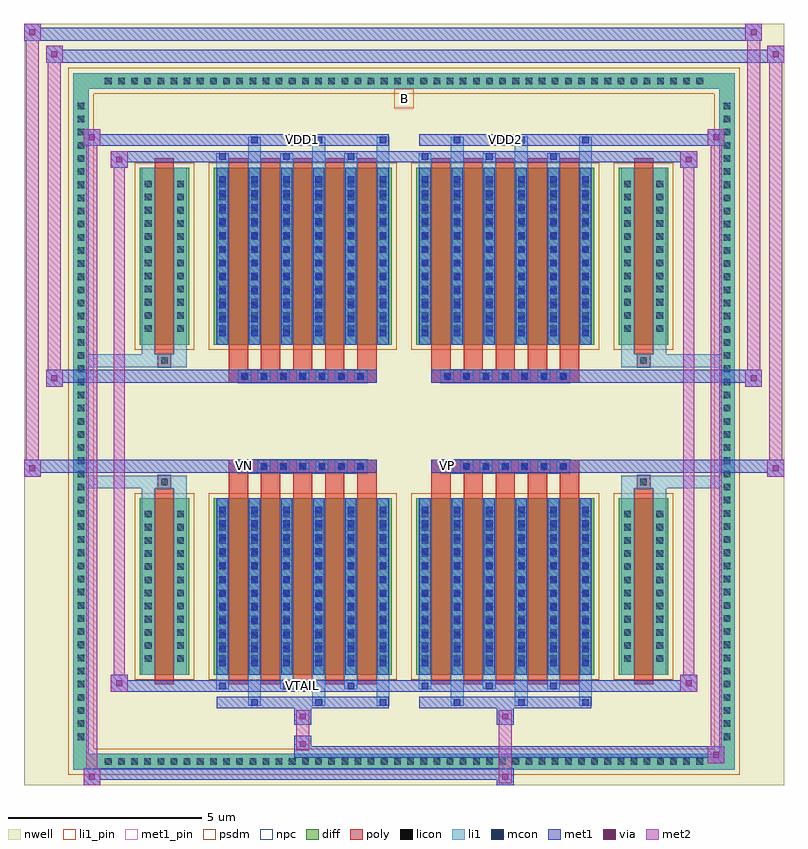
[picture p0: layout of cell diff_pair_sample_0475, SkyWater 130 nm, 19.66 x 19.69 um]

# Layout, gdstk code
import gdstk
lib = gdstk.Library(unit=1e-6, precision=5e-09)
def R(c, l, rs):  # rectangles x0, y0, x1, y1
    for r in rs: c.add(gdstk.rectangle(r[:2], r[2:], *l))
def A(c, l, x, y, w, h, nx, ny, dx, dy):  # array of equal rectangles
    R(c, l, [(x+i*dx, y+j*dy, x+i*dx+w, y+j*dy+h) for i in range(nx) for j in range(ny)])
def P(c, l, *ps):  # polygons
    for p in ps: c.add(gdstk.Polygon(p, *l))
nwell = (64, 20)
diff = (65, 20)
poly = (66, 20)
licon = (66, 44)
li1_pin = (67, 16)
li1 = (67, 20)
mcon = (67, 44)
met1_pin = (68, 16)
met1 = (68, 20)
via = (68, 44)
met2 = (69, 20)
psdm = (94, 20)
npc = (95, 20)

diff_pair_sample_0475 = lib.new_cell('diff_pair_sample_0475')
R(diff_pair_sample_0475, nwell, [(-9.83,-9.41,9.83,10.28), (-7.15,-7.6,-0.01,-0.8), (0.01,-7.6,7.15,-0.8), (-7.15,0.8,-0.01,7.6), (0.01,0.8,7.15,7.6)])
A(diff_pair_sample_0475, diff, -7.855, -9.01, 0.41, 0.41, 46, 2, 0.34, 17.61)
A(diff_pair_sample_0475, diff, -8.56, -8.365, 0.41, 0.41, 1, 49, 0, 0.34)
A(diff_pair_sample_0475, diff, 8.15, -8.365, 0.41, 0.41, 1, 49, 0, 0.34)
R(diff_pair_sample_0475, diff, [(-7.855,-9.01,7.855,-8.6), (-8.56,-8.365,-8.15,8.365), (8.15,-8.365,8.56,8.365), (-6.84,-6.555,-5.56,-1.985), (-4.92,-6.555,-0.32,-1.985), (0.32,-6.555,4.92,-1.985), (5.56,-6.555,6.84,-1.985), (-6.84,1.985,-5.56,6.555), (-4.92,1.985,-0.32,6.555), (0.32,1.985,4.92,6.555), (5.56,1.985,6.84,6.555), (-7.855,8.6,7.855,9.01)])
P(diff_pair_sample_0475, diff, [(8.56,9.01),(-8.56,9.01),(-8.56,-8.6),(-8.15,-8.6),(-8.15,8.6),(8.15,8.6),(8.15,-8.6),(-8.15,-8.6),(-8.56,-8.6),(-8.56,-9.01),(8.56,-9.01)])
A(diff_pair_sample_0475, poly, -4.53, -6.805, 0.5, 5.07, 5, 2, 0.83, 8.54)
A(diff_pair_sample_0475, poly, 0.71, -6.805, 0.5, 5.07, 5, 2, 0.83, 8.54)
A(diff_pair_sample_0475, poly, -4.53, -1.735, 0.5, 0.405, 5, 2, 0.83, 3.065)
A(diff_pair_sample_0475, poly, 0.71, -1.735, 0.5, 0.405, 5, 2, 0.83, 3.065)
A(diff_pair_sample_0475, poly, -4.285, -1.33, 0.33, 0.33, 7, 2, 0.5, 2.33)
A(diff_pair_sample_0475, poly, 0.955, -1.33, 0.33, 0.33, 7, 2, 0.5, 2.33)
R(diff_pair_sample_0475, poly, [(-6.45,-6.805,-5.95,-1.735), (5.95,-6.805,6.45,-1.735), (-6.365,-1.735,-6.035,-1.405), (-6.365,-1.735,-6.035,-1.405), (6.035,-1.735,6.365,-1.405), (6.035,-1.735,6.365,-1.405), (-4.53,-1.33,-0.71,-1), (0.71,-1.33,4.53,-1), (-4.53,1,-0.71,1.33), (0.71,1,4.53,1.33), (-6.365,1.405,-6.035,1.735), (-6.365,1.405,-6.035,1.735), (6.035,1.405,6.365,1.735), (6.035,1.405,6.365,1.735), (-6.45,1.735,-5.95,6.805), (5.95,1.735,6.45,6.805)])
A(diff_pair_sample_0475, licon, -7.735, -8.89, 0.17, 0.17, 46, 2, 0.34, 17.61)
A(diff_pair_sample_0475, licon, -8.44, -8.245, 0.17, 0.17, 1, 49, 0, 0.34)
A(diff_pair_sample_0475, licon, 8.27, -8.245, 0.17, 0.17, 1, 49, 0, 0.34)
A(diff_pair_sample_0475, licon, -6.7, -6.225, 0.17, 0.17, 1, 12, 0, 0.34)
A(diff_pair_sample_0475, licon, -5.87, -6.225, 0.17, 0.17, 1, 12, 0, 0.34)
A(diff_pair_sample_0475, licon, -4.78, -6.225, 0.17, 0.17, 6, 12, 0.83, 0.34)
A(diff_pair_sample_0475, licon, 0.46, -6.225, 0.17, 0.17, 6, 12, 0.83, 0.34)
A(diff_pair_sample_0475, licon, 5.7, -6.225, 0.17, 0.17, 1, 12, 0, 0.34)
A(diff_pair_sample_0475, licon, 6.53, -6.225, 0.17, 0.17, 1, 12, 0, 0.34)
A(diff_pair_sample_0475, licon, -4.205, -1.25, 0.17, 0.17, 7, 2, 0.5, 2.33)
A(diff_pair_sample_0475, licon, 1.035, -1.25, 0.17, 0.17, 7, 2, 0.5, 2.33)
A(diff_pair_sample_0475, licon, -6.7, 2.315, 0.17, 0.17, 1, 12, 0, 0.34)
A(diff_pair_sample_0475, licon, -5.87, 2.315, 0.17, 0.17, 1, 12, 0, 0.34)
A(diff_pair_sample_0475, licon, -4.78, 2.315, 0.17, 0.17, 6, 12, 0.83, 0.34)
A(diff_pair_sample_0475, licon, 0.46, 2.315, 0.17, 0.17, 6, 12, 0.83, 0.34)
A(diff_pair_sample_0475, licon, 5.7, 2.315, 0.17, 0.17, 1, 12, 0, 0.34)
A(diff_pair_sample_0475, licon, 6.53, 2.315, 0.17, 0.17, 1, 12, 0, 0.34)
R(diff_pair_sample_0475, licon, [(-6.285,-1.655,-6.115,-1.485), (6.115,-1.655,6.285,-1.485), (-6.285,1.485,-6.115,1.655), (6.115,1.485,6.285,1.655)])
R(diff_pair_sample_0475, li1_pin, [(-0.25,8.1,0.25,8.6)])
A(diff_pair_sample_0475, li1, -7.815, -8.97, 0.33, 0.33, 46, 2, 0.34, 17.61)
A(diff_pair_sample_0475, li1, -8.52, -8.325, 0.33, 0.33, 1, 49, 0, 0.34)
A(diff_pair_sample_0475, li1, 8.19, -8.325, 0.33, 0.33, 1, 49, 0, 0.34)
A(diff_pair_sample_0475, li1, -4.03, -7.36, 0.33, 0.805, 3, 2, 1.66, 13.915)
A(diff_pair_sample_0475, li1, -3.95, -7.36, 0.17, 0.17, 3, 2, 1.66, 14.55)
A(diff_pair_sample_0475, li1, 1.21, -7.36, 0.33, 0.805, 3, 2, 1.66, 13.915)
A(diff_pair_sample_0475, li1, 1.29, -7.36, 0.17, 0.17, 3, 2, 1.66, 14.55)
A(diff_pair_sample_0475, li1, -4.86, -6.93, 0.33, 0.375, 3, 2, 1.66, 13.485)
A(diff_pair_sample_0475, li1, -4.78, -6.93, 0.17, 0.17, 3, 2, 1.66, 13.69)
A(diff_pair_sample_0475, li1, 0.38, -6.93, 0.33, 0.375, 3, 2, 1.66, 13.485)
A(diff_pair_sample_0475, li1, 0.46, -6.93, 0.17, 0.17, 3, 2, 1.66, 13.69)
A(diff_pair_sample_0475, li1, -4.86, -6.555, 0.33, 4.57, 6, 2, 0.83, 8.54)
A(diff_pair_sample_0475, li1, 0.38, -6.555, 0.33, 4.57, 6, 2, 0.83, 8.54)
A(diff_pair_sample_0475, li1, -4.78, -6.335, 0.17, 0.17, 6, 12, 0.83, 0.36)
A(diff_pair_sample_0475, li1, -4.78, -6.335, 0.17, 4.13, 6, 2, 0.83, 8.54)
A(diff_pair_sample_0475, li1, 0.46, -6.335, 0.17, 0.17, 6, 12, 0.83, 0.36)
A(diff_pair_sample_0475, li1, 0.46, -6.335, 0.17, 4.13, 6, 2, 0.83, 8.54)
A(diff_pair_sample_0475, li1, -6.78, -6.305, 0.33, 0.33, 1, 12, 0, 0.34)
A(diff_pair_sample_0475, li1, -5.95, -6.305, 0.33, 0.33, 1, 12, 0, 0.34)
A(diff_pair_sample_0475, li1, -4.86, -6.305, 0.33, 0.33, 6, 12, 0.83, 0.34)
A(diff_pair_sample_0475, li1, 0.38, -6.305, 0.33, 0.33, 6, 12, 0.83, 0.34)
A(diff_pair_sample_0475, li1, 5.62, -6.305, 0.33, 0.33, 1, 12, 0, 0.34)
A(diff_pair_sample_0475, li1, 6.45, -6.305, 0.33, 0.33, 1, 12, 0, 0.34)
A(diff_pair_sample_0475, li1, -4.285, -1.33, 0.33, 0.33, 7, 2, 0.5, 2.33)
A(diff_pair_sample_0475, li1, 0.955, -1.33, 0.33, 0.33, 7, 2, 0.5, 2.33)
A(diff_pair_sample_0475, li1, -4.78, 2.205, 0.17, 0.17, 6, 12, 0.83, 0.36)
A(diff_pair_sample_0475, li1, 0.46, 2.205, 0.17, 0.17, 6, 12, 0.83, 0.36)
A(diff_pair_sample_0475, li1, -6.78, 2.235, 0.33, 0.33, 1, 12, 0, 0.34)
A(diff_pair_sample_0475, li1, -5.95, 2.235, 0.33, 0.33, 1, 12, 0, 0.34)
A(diff_pair_sample_0475, li1, -4.86, 2.235, 0.33, 0.33, 6, 12, 0.83, 0.34)
A(diff_pair_sample_0475, li1, 0.38, 2.235, 0.33, 0.33, 6, 12, 0.83, 0.34)
A(diff_pair_sample_0475, li1, 5.62, 2.235, 0.33, 0.33, 1, 12, 0, 0.34)
A(diff_pair_sample_0475, li1, 6.45, 2.235, 0.33, 0.33, 1, 12, 0, 0.34)
R(diff_pair_sample_0475, li1, [(-8.56,-9.01,-8.15,-8.6), (-8.56,-9.01,-8.15,-8.6), (-8.15,-9.01,8.15,-8.6), (8.15,-9.01,8.56,-8.6), (8.15,-9.01,8.56,-8.6), (-8.56,-8.6,-8.15,8.6), (8.15,-8.6,8.56,8.6), (-6.78,-6.555,-6.45,-1.985), (-5.95,-6.555,-5.62,-1.985), (5.62,-6.555,5.95,-1.985), (6.45,-6.555,6.78,-1.985), (-6.78,-1.985,-6.45,-1.405), (-5.95,-1.985,-5.62,-1.405), (5.62,-1.985,5.95,-1.405), (6.45,-1.985,6.78,-1.405), (-8.56,-1.735,-6.365,-1.405), (-6.78,-1.735,-6.365,-1.405), (-6.365,-1.735,-6.035,-1.405), (-6.035,-1.735,-5.62,-1.405), (5.62,-1.735,6.035,-1.405), (6.035,-1.735,6.365,-1.405), (6.035,-1.735,8.56,-1.405), (6.365,-1.735,6.78,-1.405), (-8.56,1.405,-6.365,1.735), (-6.78,1.405,-6.365,1.735), (-6.78,1.405,-6.45,1.985), (-6.365,1.405,-6.035,1.735), (-6.035,1.405,-5.62,1.735), (-5.95,1.405,-5.62,1.985), (5.62,1.405,6.035,1.735), (5.62,1.405,5.95,1.985), (6.035,1.405,6.365,1.735), (6.035,1.405,8.56,1.735), (6.365,1.405,6.78,1.735), (6.45,1.405,6.78,1.985), (-6.78,1.985,-6.45,6.555), (-5.95,1.985,-5.62,6.555), (5.62,1.985,5.95,6.555), (6.45,1.985,6.78,6.555), (-8.56,8.6,-8.15,9.01), (-8.56,8.6,-8.15,9.01), (-8.15,8.6,8.15,9.01), (8.15,8.6,8.56,9.01), (8.15,8.6,8.56,9.01)])
A(diff_pair_sample_0475, mcon, -3.95, -7.36, 0.17, 0.17, 3, 2, 1.66, 14.55)
A(diff_pair_sample_0475, mcon, 1.29, -7.36, 0.17, 0.17, 3, 2, 1.66, 14.55)
A(diff_pair_sample_0475, mcon, -4.78, -6.93, 0.17, 0.17, 3, 2, 1.66, 13.69)
A(diff_pair_sample_0475, mcon, 0.46, -6.93, 0.17, 0.17, 3, 2, 1.66, 13.69)
A(diff_pair_sample_0475, mcon, -4.78, -6.335, 0.17, 0.17, 6, 12, 0.83, 0.36)
A(diff_pair_sample_0475, mcon, 0.46, -6.335, 0.17, 0.17, 6, 12, 0.83, 0.36)
A(diff_pair_sample_0475, mcon, -4.205, -1.25, 0.17, 0.17, 7, 2, 0.5, 2.33)
A(diff_pair_sample_0475, mcon, 1.035, -1.25, 0.17, 0.17, 7, 2, 0.5, 2.33)
A(diff_pair_sample_0475, mcon, -4.78, 2.205, 0.17, 0.17, 6, 12, 0.83, 0.36)
A(diff_pair_sample_0475, mcon, 0.46, 2.205, 0.17, 0.17, 6, 12, 0.83, 0.36)
R(diff_pair_sample_0475, met1_pin, [(-2.755,-6.97,-2.485,-6.7), (-4.255,-1.29,-3.985,-1.02), (0.985,-1.29,1.255,-1.02), (-2.755,7.15,-2.485,7.42), (2.485,7.15,2.755,7.42)])
A(diff_pair_sample_0475, met1, -4.01, -7.42, 0.29, 0.29, 3, 2, 1.66, 14.55)
A(diff_pair_sample_0475, met1, 1.23, -7.42, 0.29, 0.29, 3, 2, 1.66, 14.55)
A(diff_pair_sample_0475, met1, -4.84, -6.99, 0.29, 0.29, 3, 2, 1.66, 13.69)
A(diff_pair_sample_0475, met1, 0.4, -6.99, 0.29, 0.29, 3, 2, 1.66, 13.69)
A(diff_pair_sample_0475, met1, -4.84, -6.555, 0.29, 4.57, 6, 2, 0.83, 8.54)
A(diff_pair_sample_0475, met1, 0.4, -6.555, 0.29, 4.57, 6, 2, 0.83, 8.54)
A(diff_pair_sample_0475, met1, -4.84, -6.395, 0.29, 0.29, 6, 12, 0.83, 0.36)
A(diff_pair_sample_0475, met1, 0.4, -6.395, 0.29, 0.29, 6, 12, 0.83, 0.36)
A(diff_pair_sample_0475, met1, -4.265, -1.31, 0.29, 0.29, 7, 2, 0.5, 2.33)
A(diff_pair_sample_0475, met1, 0.975, -1.31, 0.29, 0.29, 7, 2, 0.5, 2.33)
A(diff_pair_sample_0475, met1, -4.84, 2.145, 0.29, 0.29, 6, 12, 0.83, 0.36)
A(diff_pair_sample_0475, met1, 0.4, 2.145, 0.29, 0.29, 6, 12, 0.83, 0.36)
R(diff_pair_sample_0475, met1, [(-8.29,-9.41,-7.86,-8.98), (2.405,-9.41,2.835,-8.98), (-8.29,-9.27,2.835,-8.98), (7.86,-8.84,8.29,-8.41), (-2.835,-8.7,8.29,-8.41), (-2.835,-8.56,-2.405,-8.13), (-2.835,-7.85,-2.405,-7.42), (2.405,-7.85,2.835,-7.42), (-4.84,-7.42,-0.4,-7.13), (0.4,-7.42,4.84,-7.13), (-7.58,-6.99,-7.15,-6.56), (-7.58,-6.99,-4.84,-6.7), (-4.84,-6.99,-0.4,-6.7), (-0.4,-6.99,0.4,-6.7), (0.4,-6.99,4.84,-6.7), (4.84,-6.99,7.58,-6.7), (7.15,-6.99,7.58,-6.56), (-9.83,-1.43,-9.4,-1), (9.4,-1.43,9.83,-1), (-9.83,-1.33,-0.71,-1), (-4.53,-1.33,-0.71,-1), (0.71,-1.33,4.53,-1), (0.71,-1.33,9.83,-1), (-9.26,0.9,-8.83,1.33), (8.83,0.9,9.26,1.33), (-9.26,1,-4.53,1.33), (-4.53,1,-0.71,1.33), (0.71,1,4.53,1.33), (4.53,1,9.26,1.33), (-7.58,6.56,-7.15,6.99), (7.15,6.56,7.58,6.99), (-7.58,6.7,-4.84,6.99), (-4.84,6.7,-0.4,6.99), (-0.4,6.7,0.4,6.99), (0.4,6.7,4.84,6.99), (4.84,6.7,7.58,6.99), (-8.29,7.13,-7.86,7.56), (-8.29,7.13,-4.84,7.42), (-4.84,7.13,-0.4,7.42), (0.4,7.13,4.84,7.42), (4.84,7.13,8.29,7.42), (7.86,7.13,8.29,7.56), (-9.26,9.28,-8.83,9.71), (-9.26,9.28,-7.15,9.61), (-7.15,9.28,7.15,9.61), (7.15,9.28,9.83,9.61), (9.4,9.28,9.83,9.71), (-9.83,9.85,-9.4,10.28), (-9.83,9.85,-7.15,10.18), (-7.15,9.85,7.15,10.18), (7.15,9.85,9.26,10.18), (8.83,9.85,9.26,10.28)])
R(diff_pair_sample_0475, via, [(-8.15,-9.27,-8,-9.12), (2.545,-9.27,2.695,-9.12), (8,-8.7,8.15,-8.55), (-2.695,-8.42,-2.545,-8.27), (-2.695,-7.71,-2.545,-7.56), (2.545,-7.71,2.695,-7.56), (-7.44,-6.85,-7.29,-6.7), (7.29,-6.85,7.44,-6.7), (-9.69,-1.29,-9.54,-1.14), (9.54,-1.29,9.69,-1.14), (-9.12,1.04,-8.97,1.19), (8.97,1.04,9.12,1.19), (-7.44,6.7,-7.29,6.85), (7.29,6.7,7.44,6.85), (-8.15,7.27,-8,7.42), (8,7.27,8.15,7.42), (-9.12,9.42,-8.97,9.57), (9.54,9.42,9.69,9.57), (-9.69,9.99,-9.54,10.14), (8.97,9.99,9.12,10.14)])
R(diff_pair_sample_0475, met2, [(-8.29,-9.41,-7.86,-8.98), (-8.22,-9.41,-7.93,7.56), (-7.93,-9.41,-7.86,-8.98), (-8.24,-9.36,-7.91,-9.03), (2.455,-9.36,2.785,-9.03), (2.455,-9.03,2.785,-7.8), (7.86,-8.84,8.29,-8.41), (7.93,-8.84,8.22,7.56), (8.22,-8.84,8.29,-8.41), (7.91,-8.79,8.24,-8.46), (-2.785,-8.51,-2.455,-8.18), (-2.785,-8.18,-2.455,-7.8), (-2.785,-7.8,-2.455,-7.47), (2.455,-7.8,2.785,-7.47), (-7.58,-6.99,-7.15,-6.56), (-7.51,-6.99,-7.22,6.99), (-7.22,-6.99,-7.15,-6.56), (7.15,-6.99,7.58,-6.56), (7.22,-6.99,7.51,6.99), (7.51,-6.99,7.58,-6.56), (-7.53,-6.94,-7.2,-6.61), (7.2,-6.94,7.53,-6.61), (-9.83,-1.43,-9.4,-1), (-9.78,-1.43,-9.45,10.28), (-9.45,-1.43,-9.4,-1), (9.4,-1.43,9.83,-1), (9.45,-1.43,9.78,9.71), (9.78,-1.43,9.83,-1), (-9.78,-1.38,-9.45,-1.05), (9.45,-1.38,9.78,-1.05), (-9.26,0.9,-8.83,1.33), (-9.21,0.9,-8.88,9.71), (-8.88,0.9,-8.83,1.33), (8.83,0.9,9.26,1.33), (8.88,0.9,9.21,10.28), (9.21,0.9,9.26,1.33), (-9.21,0.95,-8.88,1.28), (8.88,0.95,9.21,1.28), (-7.58,6.56,-7.15,6.99), (-7.22,6.56,-7.15,6.99), (7.15,6.56,7.58,6.99), (7.51,6.56,7.58,6.99), (-7.53,6.61,-7.2,6.94), (7.2,6.61,7.53,6.94), (-8.29,7.13,-7.86,7.56), (-7.93,7.13,-7.86,7.56), (7.86,7.13,8.29,7.56), (8.22,7.13,8.29,7.56), (-8.24,7.18,-7.91,7.51), (7.91,7.18,8.24,7.51), (-9.26,9.28,-8.83,9.71), (-8.88,9.28,-8.83,9.71), (9.4,9.28,9.83,9.71), (9.78,9.28,9.83,9.71), (-9.21,9.33,-8.88,9.66), (9.45,9.33,9.78,9.66), (-9.83,9.85,-9.4,10.28), (-9.45,9.85,-9.4,10.28), (8.83,9.85,9.26,10.28), (9.21,9.85,9.26,10.28), (-9.78,9.9,-9.45,10.23), (8.88,9.9,9.21,10.23)])
R(diff_pair_sample_0475, psdm, [(-6.97,-6.685,-5.43,-1.855), (-5.05,-6.685,-0.19,-1.855), (0.19,-6.685,5.05,-1.855), (5.43,-6.685,6.97,-1.855), (-6.97,1.855,-5.43,6.685), (-5.05,1.855,-0.19,6.685), (0.19,1.855,5.05,6.685), (5.43,1.855,6.97,6.685)])
P(diff_pair_sample_0475, psdm, [(8.69,9.14),(-8.69,9.14),(-8.69,-8.47),(-8.02,-8.47),(-8.02,8.47),(8.02,8.47),(8.02,-8.47),(-8.02,-8.47),(-8.69,-8.47),(-8.69,-9.14),(8.69,-9.14)])
A(diff_pair_sample_0475, npc, -4.305, -1.35, 0.37, 0.37, 7, 2, 0.5, 2.33)
A(diff_pair_sample_0475, npc, 0.935, -1.35, 0.37, 0.37, 7, 2, 0.5, 2.33)
R(diff_pair_sample_0475, npc, [(-6.385,-1.755,-6.015,-1.385), (6.015,-1.755,6.385,-1.385), (-4.305,-1.35,-3.435,-0.98), (-4.305,-1.35,-3.435,-0.98), (-3.805,-1.35,-2.935,-0.98), (-3.805,-1.35,-2.935,-0.98), (-3.305,-1.35,-2.435,-0.98), (-3.305,-1.35,-2.435,-0.98), (-2.805,-1.35,-1.935,-0.98), (-2.805,-1.35,-1.935,-0.98), (-2.305,-1.35,-1.435,-0.98), (-2.305,-1.35,-1.435,-0.98), (-1.805,-1.35,-0.935,-0.98), (-1.805,-1.35,-0.935,-0.98), (0.935,-1.35,1.805,-0.98), (0.935,-1.35,1.805,-0.98), (1.435,-1.35,2.305,-0.98), (1.435,-1.35,2.305,-0.98), (1.935,-1.35,2.805,-0.98), (1.935,-1.35,2.805,-0.98), (2.435,-1.35,3.305,-0.98), (2.435,-1.35,3.305,-0.98), (2.935,-1.35,3.805,-0.98), (2.935,-1.35,3.805,-0.98), (3.435,-1.35,4.305,-0.98), (3.435,-1.35,4.305,-0.98), (-4.305,0.98,-3.435,1.35), (-4.305,0.98,-3.435,1.35), (-3.805,0.98,-2.935,1.35), (-3.805,0.98,-2.935,1.35), (-3.305,0.98,-2.435,1.35), (-3.305,0.98,-2.435,1.35), (-2.805,0.98,-1.935,1.35), (-2.805,0.98,-1.935,1.35), (-2.305,0.98,-1.435,1.35), (-2.305,0.98,-1.435,1.35), (-1.805,0.98,-0.935,1.35), (-1.805,0.98,-0.935,1.35), (0.935,0.98,1.805,1.35), (0.935,0.98,1.805,1.35), (1.435,0.98,2.305,1.35), (1.435,0.98,2.305,1.35), (1.935,0.98,2.805,1.35), (1.935,0.98,2.805,1.35), (2.435,0.98,3.305,1.35), (2.435,0.98,3.305,1.35), (2.935,0.98,3.805,1.35), (2.935,0.98,3.805,1.35), (3.435,0.98,4.305,1.35), (3.435,0.98,4.305,1.35), (-6.385,1.385,-6.015,1.755), (6.015,1.385,6.385,1.755)])
diff_pair_sample_0475.add(gdstk.Label('VTAIL', (-2.62,-6.835), layer=68, texttype=5))
diff_pair_sample_0475.add(gdstk.Label('VN', (-4.12,-1.155), layer=68, texttype=5))
diff_pair_sample_0475.add(gdstk.Label('VP', (1.12,-1.155), layer=68, texttype=5))
diff_pair_sample_0475.add(gdstk.Label('B', (0,8.35), layer=67, texttype=5))
diff_pair_sample_0475.add(gdstk.Label('VDD2', (2.62,7.285), layer=68, texttype=5))
diff_pair_sample_0475.add(gdstk.Label('VDD1', (-2.62,7.285), layer=68, texttype=5))

lib.write_gds('diff_pair_sample_0475.gds')
